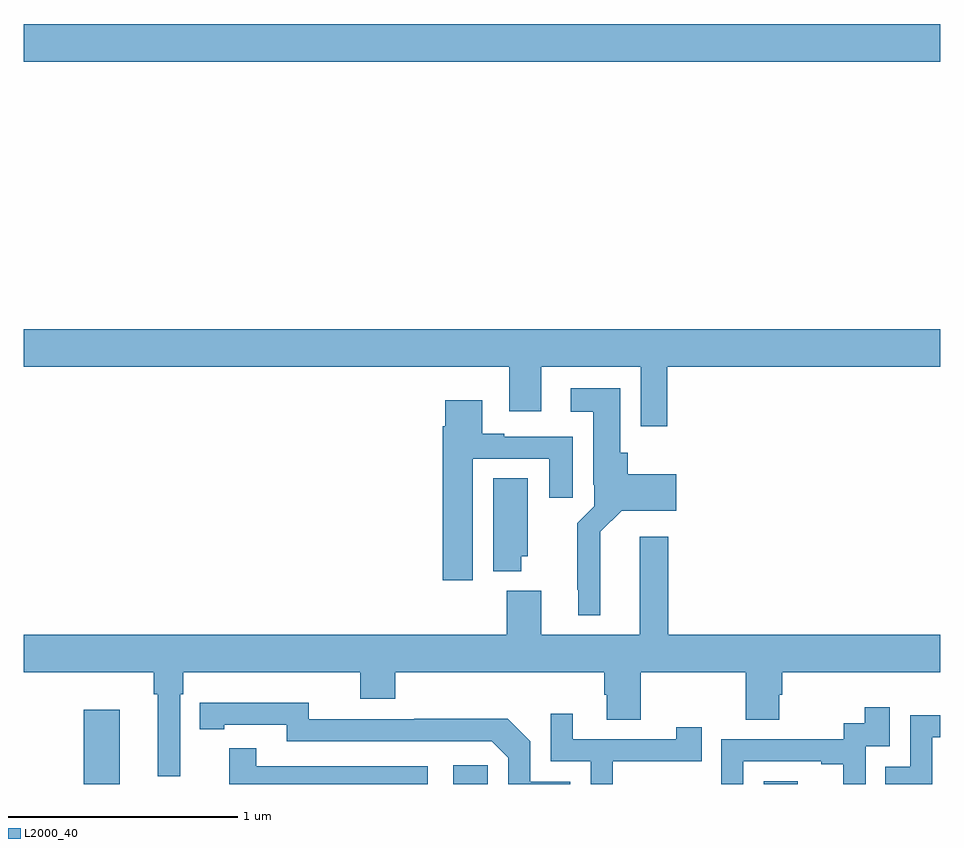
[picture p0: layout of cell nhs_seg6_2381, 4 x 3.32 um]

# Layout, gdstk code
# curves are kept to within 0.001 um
import gdstk
lib = gdstk.Library(unit=1e-6, precision=1e-09)
def R(c, l, rs):  # rectangles x0, y0, x1, y1
    for r in rs: c.add(gdstk.rectangle(r[:2], r[2:], *l))
def P(c, l, *ps):  # polygons
    for p in ps: c.add(gdstk.Polygon(p, *l))
L2000_40 = (2000, 40)

nhs_seg6_2381 = lib.new_cell('nhs_seg6_2381')
R(nhs_seg6_2381, L2000_40, [(253.262,961.5,253.42,961.825), (254.874,961.5,255.024,961.582), (256.23,961.5,256.378,961.513), (253,964.652,257,964.816)])
P(nhs_seg6_2381, L2000_40, [(255.809,963.32),(257,963.32),(257,963.484),(253,963.484),(253,963.32),(255.119,963.32),(255.119,963.126),(255.259,963.126),(255.259,963.32),(255.693,963.32),(255.693,963.06),(255.809,963.06)],
  [(255.517,962.6),(255.609,962.693),(255.847,962.693),(255.847,962.851),(255.635,962.851),(255.635,962.946),(255.604,962.946),(255.604,963.226),(255.387,963.226),(255.387,963.125),(255.485,963.125),(255.485,962.806),(255.489,962.806),(255.489,962.712),(255.415,962.638),(255.415,962.347),(255.419,962.347),(255.419,962.237),(255.517,962.237)],
  [(254.959,962.919),(255.293,962.919),(255.293,962.748),(255.397,962.748),(255.397,963.015),(255.097,963.015),(255.097,963.028),(255.001,963.028),(255.001,963.175),(254.84,963.175),(254.84,963.062),(254.828,963.062),(254.828,962.388),(254.959,962.388)],
  [(255.172,962.493),(255.199,962.493),(255.199,962.834),(255.05,962.834),(255.05,962.429),(255.172,962.429)],
  [(253.683,961.892),(253.697,961.892),(253.697,961.988),(254.468,961.988),(254.468,961.871),(254.621,961.871),(254.621,961.988),(255.533,961.988),(255.533,961.89),(255.545,961.89),(255.545,961.78),(255.693,961.78),(255.693,961.988),(256.15,961.988),(256.15,961.78),(256.297,961.78),(256.297,961.89),(256.31,961.89),(256.31,961.988),(257,961.988),(257,962.152),(255.812,962.152),(255.812,962.578),(255.689,962.578),(255.689,962.152),(255.259,962.152),(255.259,962.344),(255.107,962.344),(255.107,962.152),(253,962.152),(253,961.988),(253.567,961.988),(253.567,961.892),(253.586,961.892),(253.586,961.533),(253.683,961.533)],
  [(255.384,961.509),(255.21,961.509),(255.21,961.686),(255.112,961.784),(254.704,961.784),(254.704,961.782),(254.244,961.782),(254.244,961.855),(253.768,961.854),(253.768,961.738),(253.876,961.738),(253.876,961.758),(254.148,961.758),(254.148,961.686),(255.042,961.686),(255.114,961.614),(255.114,961.5),(255.384,961.5)],
  [(256.14,961.599),(256.481,961.599),(256.481,961.587),(256.577,961.587),(256.577,961.5),(256.674,961.5),(256.674,961.665),(256.779,961.665),(256.779,961.834),(256.671,961.834),(256.671,961.764),(256.578,961.764),(256.578,961.695),(256.044,961.695),(256.044,961.5),(256.14,961.5)],
  [(255.57,961.599),(255.959,961.599),(255.959,961.747),(255.848,961.747),(255.848,961.695),(255.397,961.695),(255.397,961.807),(255.3,961.807),(255.3,961.599),(255.474,961.599),(255.474,961.5),(255.57,961.5)],
  [(256.965,961.704),(257,961.704),(257,961.8),(256.869,961.8),(256.869,961.575),(256.759,961.575),(256.759,961.5),(256.965,961.5)],
  [(254.764,961.578),(254.015,961.578),(254.015,961.657),(253.898,961.657),(253.898,961.5),(254.764,961.5)])

lib.write_gds('nhs_seg6_2381.gds')
